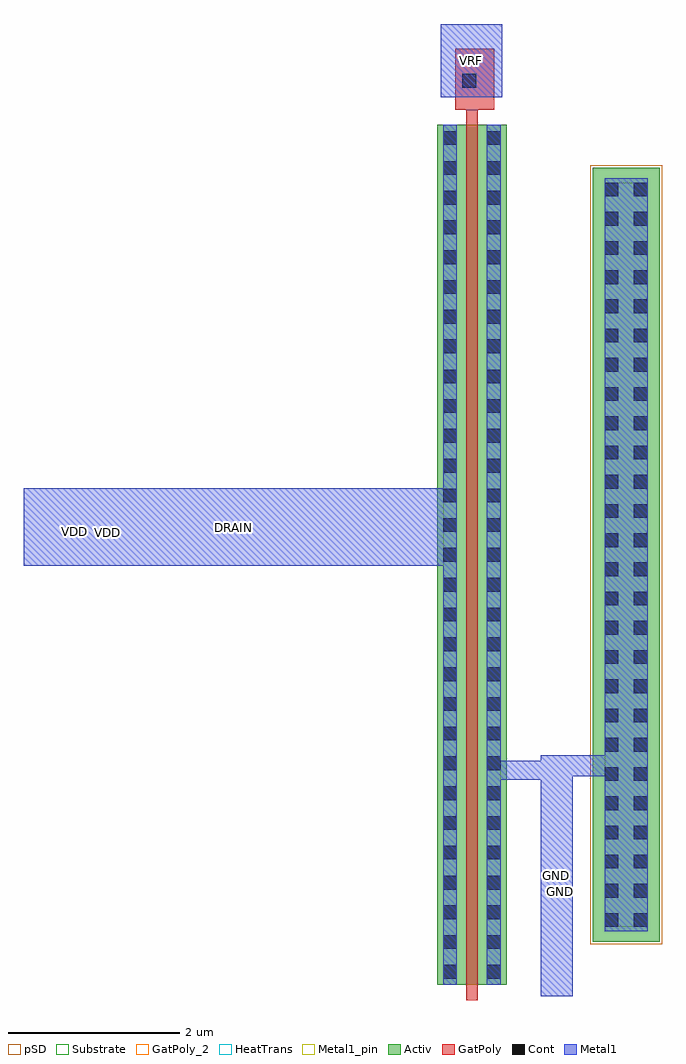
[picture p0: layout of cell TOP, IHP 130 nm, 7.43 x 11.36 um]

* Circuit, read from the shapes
.subckt TOP GND VDD VRF
XM1 GND VRF VDD GND sg13_lv_nmos w=10u l=0.13u
.ends

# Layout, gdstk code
import gdstk
lib = gdstk.Library(unit=1e-6, precision=1e-09)
def R(c, l, rs):  # rectangles x0, y0, x1, y1
    for r in rs: c.add(gdstk.rectangle(r[:2], r[2:], *l))
def A(c, l, x, y, w, h, nx, ny, dx, dy):  # array of equal rectangles
    R(c, l, [(x+i*dx, y+j*dy, x+i*dx+w, y+j*dy+h) for i in range(nx) for j in range(ny)])
Activ = (1, 0)
GatPoly = (5, 0)
GatPoly_2 = (5, 2)
Cont = (6, 0)
Metal1 = (8, 0)
Metal1_pin = (8, 2)
pSD = (14, 0)
Substrate = (40, 0)
HeatTrans = (51, 0)

nmos_1 = lib.new_cell('nmos$1')
R(nmos_1, Activ, [(0,0,0.3,0.3), (0,0,0.81,10), (0.51,0,0.81,0.3)])
R(nmos_1, GatPoly, [(0.34,-0.18,0.47,10.18)])
R(nmos_1, GatPoly_2, [(0.34,-0.18,0.47,10.18)])
A(nmos_1, Cont, 0.07, 0.07, 0.16, 0.16, 1, 4, 0, 0.345)
A(nmos_1, Cont, 0.58, 0.07, 0.16, 0.16, 1, 4, 0, 0.345)
A(nmos_1, Cont, 0.07, 1.455, 0.16, 0.16, 1, 3, 0, 0.345)
A(nmos_1, Cont, 0.58, 1.455, 0.16, 0.16, 1, 3, 0, 0.345)
A(nmos_1, Cont, 0.07, 2.495, 0.16, 0.16, 1, 4, 0, 0.345)
A(nmos_1, Cont, 0.58, 2.495, 0.16, 0.16, 1, 4, 0, 0.345)
A(nmos_1, Cont, 0.07, 3.88, 0.16, 0.16, 1, 3, 0, 0.345)
A(nmos_1, Cont, 0.58, 3.88, 0.16, 0.16, 1, 3, 0, 0.345)
A(nmos_1, Cont, 0.07, 4.92, 0.16, 0.16, 1, 4, 0, 0.345)
A(nmos_1, Cont, 0.58, 4.92, 0.16, 0.16, 1, 4, 0, 0.345)
A(nmos_1, Cont, 0.07, 6.305, 0.16, 0.16, 1, 3, 0, 0.345)
A(nmos_1, Cont, 0.58, 6.305, 0.16, 0.16, 1, 3, 0, 0.345)
A(nmos_1, Cont, 0.07, 7.345, 0.16, 0.16, 1, 4, 0, 0.345)
A(nmos_1, Cont, 0.58, 7.345, 0.16, 0.16, 1, 4, 0, 0.345)
A(nmos_1, Cont, 0.07, 8.73, 0.16, 0.16, 1, 3, 0, 0.345)
A(nmos_1, Cont, 0.58, 8.73, 0.16, 0.16, 1, 3, 0, 0.345)
R(nmos_1, Cont, [(0.07,9.77,0.23,9.93), (0.58,9.77,0.74,9.93)])
R(nmos_1, Metal1, [(0.07,0,0.23,10), (0.58,0,0.74,10)])
R(nmos_1, Metal1_pin, [(0.07,0,0.23,10), (0.58,0,0.74,10)])
R(nmos_1, HeatTrans, [(0.34,-0.18,0.47,10.18)])
nmos_1.add(gdstk.Label('nmos', (0.405,5), layer=63, texttype=0))
nmos_1.add(gdstk.Label('nmos', (0.405,5), layer=51, texttype=0))

ptap1_1 = lib.new_cell('ptap1$1')
R(ptap1_1, Activ, [(0,0,0.78,9)])
A(ptap1_1, Cont, 0.14, 0.17, 0.16, 0.16, 1, 26, 0, 0.34)
A(ptap1_1, Cont, 0.48, 0.17, 0.16, 0.16, 1, 26, 0, 0.34)
R(ptap1_1, Metal1, [(0.14,0.12,0.64,8.88), (0.14,0.17,0.64,8.83)])
R(ptap1_1, Metal1_pin, [(0.14,0.17,0.64,8.83)])
R(ptap1_1, pSD, [(-0.03,-0.03,0.81,9.03)])
R(ptap1_1, Substrate, [(0,0,0.78,9)])
ptap1_1.add(gdstk.Label('sub!', (0.39,0.01), layer=63, texttype=0))
ptap1_1.add(gdstk.Label('sub!', (0.39,0.01), layer=40, texttype=0))

top = lib.new_cell('TOP')
R(top, GatPoly, [(0.525,9.715,0.98,10.42)])
R(top, Cont, [(0.61,9.97,0.77,10.13)])
R(top, Metal1, [(1.52,-0.6,1.895,2.2), (1.055,1.92,1.52,2.14), (1.895,1.96,2.265,2.2), (-4.495,4.405,0.385,5.31), (0.355,9.855,1.07,10.71)])
top.add(gdstk.Reference(nmos_1, (0.315,-0.465)))
top.add(gdstk.Reference(ptap1_1, (2.125,0.035)))
top.add(gdstk.Label('DRAIN', (-2.055,4.855), layer=63, texttype=0))
top.add(gdstk.Label('VDD', (-3.905,4.8), layer=8, texttype=2))
top.add(gdstk.Label('VRF', (0.713,10.283), layer=8, texttype=2))
top.add(gdstk.Label('GND', (1.708,0.8), layer=8, texttype=2))
top.add(gdstk.Label('VDD', (-3.515,4.795), layer=8, texttype=1))
top.add(gdstk.Label('VRF', (0.785,10.31), layer=8, texttype=1))
top.add(gdstk.Label('GND', (1.75,0.62), layer=8, texttype=1))

lib.write_gds('TOP.gds')
